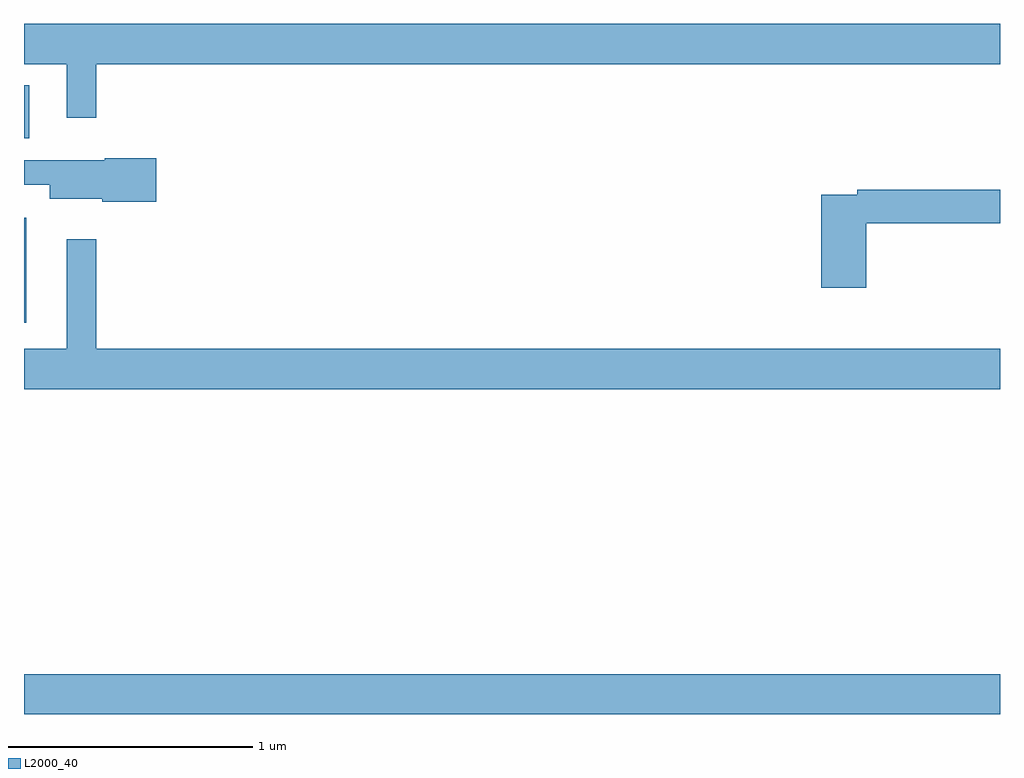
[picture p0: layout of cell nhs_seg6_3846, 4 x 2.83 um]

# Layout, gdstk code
import gdstk
lib = gdstk.Library(unit=1e-6, precision=1e-09)
def R(c, l, rs):  # rectangles x0, y0, x1, y1
    for r in rs: c.add(gdstk.rectangle(r[:2], r[2:], *l))
def P(c, l, *ps):  # polygons
    for p in ps: c.add(gdstk.Polygon(p, *l))
L2000_40 = (2000, 40)

nhs_seg6_3846 = lib.new_cell('nhs_seg6_3846')
R(nhs_seg6_3846, L2000_40, [(337,984.632,341,984.796), (337,986.235,337.009,986.665), (337,986.991,337.021,987.208)])
P(nhs_seg6_3846, L2000_40, [(337.297,987.296),(341,987.296),(341,987.46),(337,987.46),(337,987.296),(337.175,987.296),(337.175,987.075),(337.297,987.075)],
  [(337.543,986.91),(337.33,986.91),(337.33,986.902),(337,986.902),(337,986.801),(337.106,986.801),(337.106,986.744),(337.32,986.744),(337.32,986.732),(337.543,986.732)],
  [(340.451,986.644),(341,986.644),(341,986.78),(340.414,986.78),(340.414,986.76),(340.268,986.76),(340.268,986.379),(340.451,986.379)],
  [(341,986.128),(337.297,986.128),(337.297,986.578),(337.175,986.578),(337.175,986.128),(337,986.128),(337,985.964),(341,985.964)])

lib.write_gds('nhs_seg6_3846.gds')
